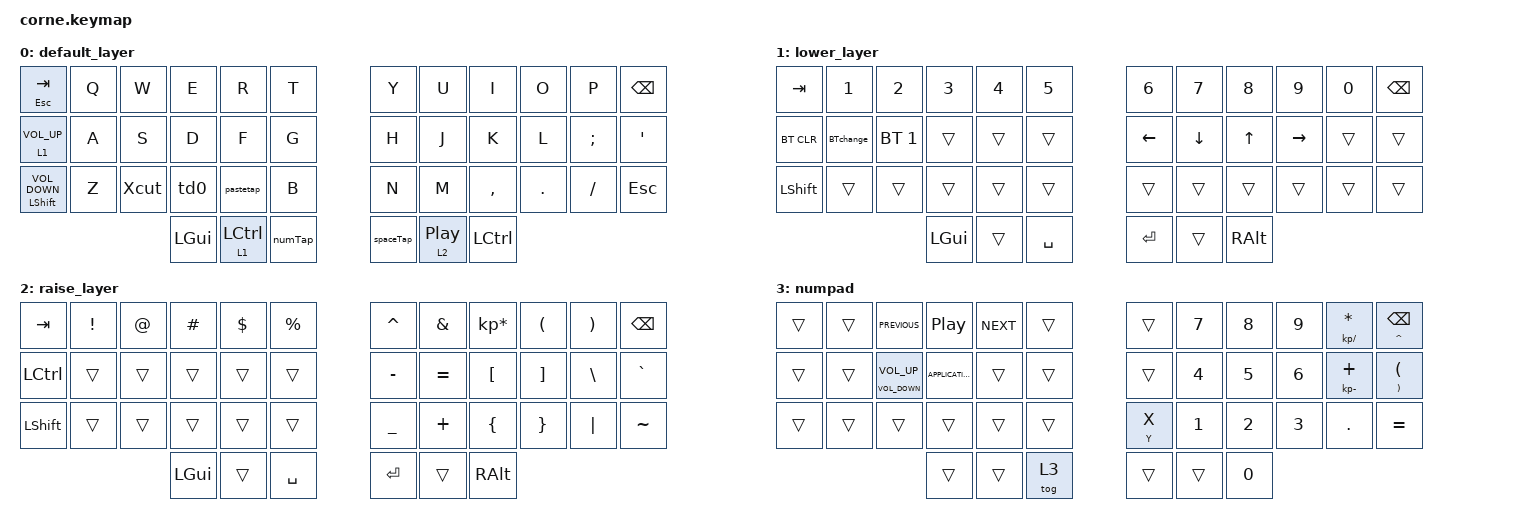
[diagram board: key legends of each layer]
/*
 * Copyright (c) 2020 The ZMK Contributors
 *
 * SPDX-License-Identifier: MIT
 */

#include <behaviors.dtsi>
#include <dt-bindings/zmk/bt.h>
#include <dt-bindings/zmk/keys.h>

#define DEFAULT 0

#define COMBO(NAME, BINDINGS, LAYERS, KEYPOS) \
	combo_##NAME { \
		timeout-ms = <50>; \
		bindings = <BINDINGS>; \
		key-positions = <KEYPOS>; \
		layers = <LAYERS>; \
	};

/ {
    behaviors {
        td0: tap_dance_0 {
            compatible = "zmk,behavior-tap-dance";
            label = "TAP_DANCE_0";
            #binding-cells = <0>;
            tapping-term-ms = <200>;
            bindings = <&kp C>, <&kp LG(C)>, <&kp LG(V)>;
        };
        pastetap: tap_paste_0 {
            compatible = "zmk,behavior-tap-dance";
            label = "TAP_PASTE_0";
            #binding-cells = <0>;
            tapping-term-ms = <200>;
            bindings = <&kp V>, <&kp LG(V)>, <&kp LG(C)>, <&kp LG(X)>;
        };
		Xcut: X_tap {
			compatible = "zmk,behavior-tap-dance";
			label = "X_TAP";
			#binding-cells = <0>;
			tapping-term-ms = <200>;
			bindings = <&kp X>, <&kp LG(X)>, <&kp LG(V)>;
		};
		BTchange: BT_tap {
			compatible = "zmk,behavior-tap-dance";
			label = "BT_TAP";
			#binding-cells = <0>;
			tapping-term-ms = <200>;
			bindings = <&bt BT_SEL 0>, <&bt BT_SEL 1>, <&bt BT_SEL 2>;
		};
		spaceTap: SPACE_tap {
			compatible = "zmk,behavior-tap-dance";
			label = "SPACE_TAP";
			#binding-cells = <0>;
			tapping-term-ms = <200>;
			bindings = <&kp SPACE>, <&kp ENTER>;
		};
		numTap: NUM_tap {
			compatible = "zmk,behavior-tap-dance";
			label = "NUM_TAP";
			#binding-cells = <0>;
			tapping-term-ms = <200>;
			bindings = <&kp SPACE>, <&tog 3>;
		};
    };
};

/{
	macros {
			randMacro: randMacro {
					label = "randMacros";
					compatible = "zmk,behavior-macro";
					#binding-cells = <0>;
					bindings
							= <&kp QMARK &kp LS(B) &kp LS(A) &kp LS(K) &kp LS(A) &kp QMARK &kp P &kp E &kp R &kp N4 &kp L &kp T &kp A>
							;
			};
			theMacro: theMacro {
				label = "THEMACRO";
					compatible = "zmk,behavior-macro";
					#binding-cells = <0>;
					bindings
							= <&kp T &kp H &kp E>
							;
			};
			copyMacro: copyMacro {
					label = "copy_macro";
					compatible = "zmk,behavior-macro";
					#binding-cells = <0>;
					bindings
							= <&macro_press &kp LGUI>
							, <&macro_tap &kp C>
							, <&macro_release &kp LGUI>
							;
			};
			nrsMacro: nrsMacro {
					label = "NRSMACRO";
					compatible = "zmk,behavior-macro";
					#binding-cells = <0>;
					bindings
							= <&kp N &kp P &kp N1 &kp N5 &kp N7 &kp AT &kp N &kp R &kp S &kp MINUS &kp P &kp R &kp O &kp J &kp E &kp C &kp T &kp S &kp DOT &kp H &kp U &kp M &kp B &kp O &kp L &kp D &kp T &kp DOT &kp E &kp D &kp U>
							;
			};
			pasteMacro: pasteMacro {
					label = "paste_macro";
					compatible = "zmk,behavior-macro";
					#binding-cells = <0>;
					bindings
							= <&macro_press &kp LGUI>
							, <&macro_tap &kp V>
							, <&macro_release &kp LGUI>
							;
		};
	};
};

/{
	combos{
		compatible = "zmk,combos";
		COMBO(combo_something, &randMacro, 3, 0 1)
		COMBO(easyThe, &theMacro, 0, 4 5)
		COMBO(login, &nrsMacro, 3, 14 15)
	};
};

/ {
    keymap {
        compatible = "zmk,keymap";

        default_layer {
            // -----------------------------------------------------------------------------------------
            // |  TAB |  Q  |  W  |  E  |  R  |  T  |   |  Y  |  U   |  I  |  O  |  P  | BKSP |
            // | CTRL |  A  |  S  |  D  |  F  |  G  |   |  H  |  J   |  K  |  L  |  ;  |  '   |
            // | SHFT |  Z  |  X  |  C  |  V  |  B  |   |  N  |  M   |  ,  |  .  |  /  | ESC  |
            //                    | GUI | LWR | SPC |   | ENT | RSE  | ALT |

            bindings = <
            &mt ESC TAB  &kp Q  &kp W     &kp E               &kp R        &kp T             &kp Y  &kp U      &kp I    &kp O      &kp P  &kp BSPC
         &lt 1 C_VOL_UP  &kp A  &kp S     &kp D               &kp F        &kp G              &kp H  &kp J      &kp K    &kp L   &kp SEMI   &kp SQT
&mt LSHFT C_VOLUME_DOWN  &kp Z  &Xcut     &td0              &pastetap        &kp B              &kp N  &kp M  &kp COMMA  &kp DOT  &kp SLASH   &kp ESC
                                       &kp LGUI  &lt 1 LEFT_CONTROL  &numTap    &spaceTap  &lt 2 C_PP &kp LEFT_CONTROL
            >;
        };

        lower_layer {
            // -----------------------------------------------------------------------------------------
            // |  TAB |  1  |  2  |  3  |  4  |  5  |   |  6  |  7  |  8  |  9  |  0  | BKSP |
            // | BTCLR| BT1 | BT2 | BT3 | BT4 | BT5 |   | LFT | DWN |  UP | RGT |     |      |
            // | SHFT |     |     |     |     |     |   |     |     |     |     |     |      |
            //                    | GUI |     | SPC |   | ENT |     | ALT |

            bindings = <
   &kp TAB        &kp N1        &kp N2        &kp N3        &kp N4        &kp N5      &kp N6    &kp N7    &kp N8     &kp N9  &kp N0  &kp BSPC
&bt BT_CLR  &BTchange  &bt BT_SEL 1  &trans  &trans  &trans    &kp LEFT  &kp DOWN    &kp UP  &kp RIGHT  &trans    &trans
 &kp LSHFT        &trans        &trans        &trans        &trans        &trans      &trans    &trans    &trans     &trans  &trans    &trans
                                            &kp LGUI        &trans     &kp SPACE     &kp RET    &trans  &kp RALT
            >;
        };

        raise_layer {
            // -----------------------------------------------------------------------------------------
            // |  TAB |  !  |  @  |  #  |  $  | v %  |   |  ^  |  &  |  *  |  (  |  )  | BKSP |
            // | CTRL |     |     |     |     |     |   |  -  |  =  |  [  |  ]  |  \  |  `   |
            // | SHFT |     |     |     |     |     |   |  _  |  +  |  {  |  }  | "|" |  ~   |
			//                    | GUI |     | SPC |   | ENT |     | ALT |

            bindings = <
  &kp TAB  &kp EXCL  &kp AT  &kp HASH  &kp DLLR  &kp PRCNT    &kp CARET   &kp AMPS  &kp KP_MULTIPLY  &kp LPAR  &kp RPAR   &kp BSPC
&kp LCTRL    &trans  &trans    &trans    &trans     &trans    &kp MINUS  &kp EQUAL         &kp LBKT  &kp RBKT  &kp BSLH  &kp GRAVE
&kp LSHFT    &trans  &trans    &trans    &trans     &trans    &kp UNDER   &kp PLUS         &kp LBRC  &kp RBRC  &kp PIPE  &kp TILDE
                             &kp LGUI    &trans  &kp SPACE      &kp RET     &trans         &kp RALT
            >;
        };

        numpad {
            bindings = <
&trans  &trans                 &kp C_PREVIOUS   &kp C_PLAY_PAUSE  &kp C_NEXT  &trans     &trans  &kp N7        &kp N8  &kp N9   &mt KP_DIVIDE ASTRK                     &mt CARET BACKSPACE
&trans  &trans  &mt C_VOLUME_DOWN C_VOLUME_UP  &kp K_APPLICATION      &trans  &trans     &trans  &kp N4        &kp N5  &kp N6  &mt KP_SUBTRACT PLUS  &mt RIGHT_PARENTHESIS LEFT_PARENTHESIS
&trans  &trans                         &trans             &trans      &trans  &trans    &mt Y X  &kp N1        &kp N2  &kp N3            &kp PERIOD                               &kp EQUAL
                                                          &trans      &trans  &tog 3     &trans  &trans  &kp NUMBER_0
            >;
        };
    };
};
